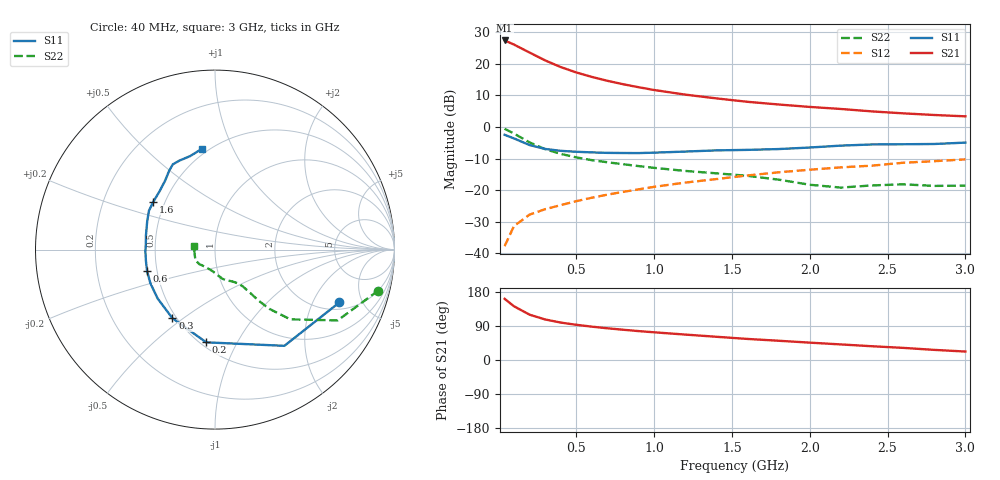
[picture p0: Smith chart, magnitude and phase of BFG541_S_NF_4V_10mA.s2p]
! Filename:  BFG541B.S2P  Version:  3.0
! Philips part #: BFG541  Date: Feb 1992
! Bias condition: Vce=4V, Ic=10mA
#  MHz  S  MA  R  50
! Freq  S11  S21  S12  S22  !GUM [dB]
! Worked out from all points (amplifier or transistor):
!   21 points, 40 MHz to 3 GHz, reference 50 ohm
!   highest |S21| = 27.4 dB at 40 MHz (marker M1)
!   |S21| within 3 dB of that: start of sweep to 167.4 MHz
!   unconditionally stable (mu >= 1): 768.9 MHz to end of sweep
!   at 300 MHz: K = 0.67, MSG = 23.6 dB, |S12| = -26.0 dB
!   at 1 GHz: K = 1.06, MAG = 13.9 dB, |S12| = -18.9 dB
!   at 3 GHz: K = 1.03, MAG = 5.8 dB, |S12| = -10.2 dB
!   lowest NFmin = 1.30 dB at 900 MHz
!   S11 on the Smith chart (normalised r, x): 40 MHz: 2.40, -3.26; 200 MHz: 0.53, -0.76; 300 MHz: 0.48, -0.46; 600 MHz: 0.44, -0.13; 1.6 GHz: 0.43, +0.28; 3 GHz: 0.46, +0.77
40  0.753 -23.0  23.48 161.5  0.013 77.8  0.938 -14.1
100  0.661 -54.2  20.23 141.8  0.027 65.3  0.789 -30.0
200  0.519 -95.4  15.12 119.7  0.041 57.3  0.572 -42.8
300  0.45 -121.8  11.36 107.0  0.05 56.0  0.447 -47.5
400  0.42 -139.5  8.914 98.8  0.058 57.3  0.376 -49.4
500  0.406 -152.4  7.317 92.9  0.067 58.6  0.331 -50.4
600  0.397 -162.3  6.218 88.0  0.076 59.9  0.299 -51.2
700  0.39 -170.7  5.397 83.7  0.085 60.9  0.277 -52.1
800  0.388 -178.3  4.77 79.9  0.094 61.6  0.258 -52.9
900  0.387 174.5  4.271 76.3  0.103 62.3  0.241 -54.3
1000  0.393 168.1  3.859 73.1  0.113 62.4  0.226 -56.1
1200  0.409 157.5  3.26 67.1  0.132 62.3  0.202 -61.4
1400  0.427 149.5  2.843 61.3  0.15 61.5  0.185 -68.4
1600  0.435 142.1  2.509 55.6  0.171 61.3  0.169 -75.2
1800  0.448 133.7  2.275 50.8  0.192 59.1  0.147 -82.6
2000  0.474 125.9  2.082 45.8  0.211 57.8  0.122 -95.6
2200  0.508 120.2  1.932 41.1  0.23 55.9  0.11 -117.1
2400  0.53 116.3  1.768 36.3  0.245 55.1  0.119 -137.1
2600  0.534 111.8  1.648 32.0  0.272 52.2  0.124 -150.7
2800  0.539 104.9  1.551 26.7  0.288 48.5  0.117 -165.6
3000  0.567 97.2  1.477 22.3  0.308 47.1  0.118 170.4
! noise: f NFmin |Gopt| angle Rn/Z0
900  1.3  0.301  158  0.09
2000  2.1  0.525  -146  0.14
